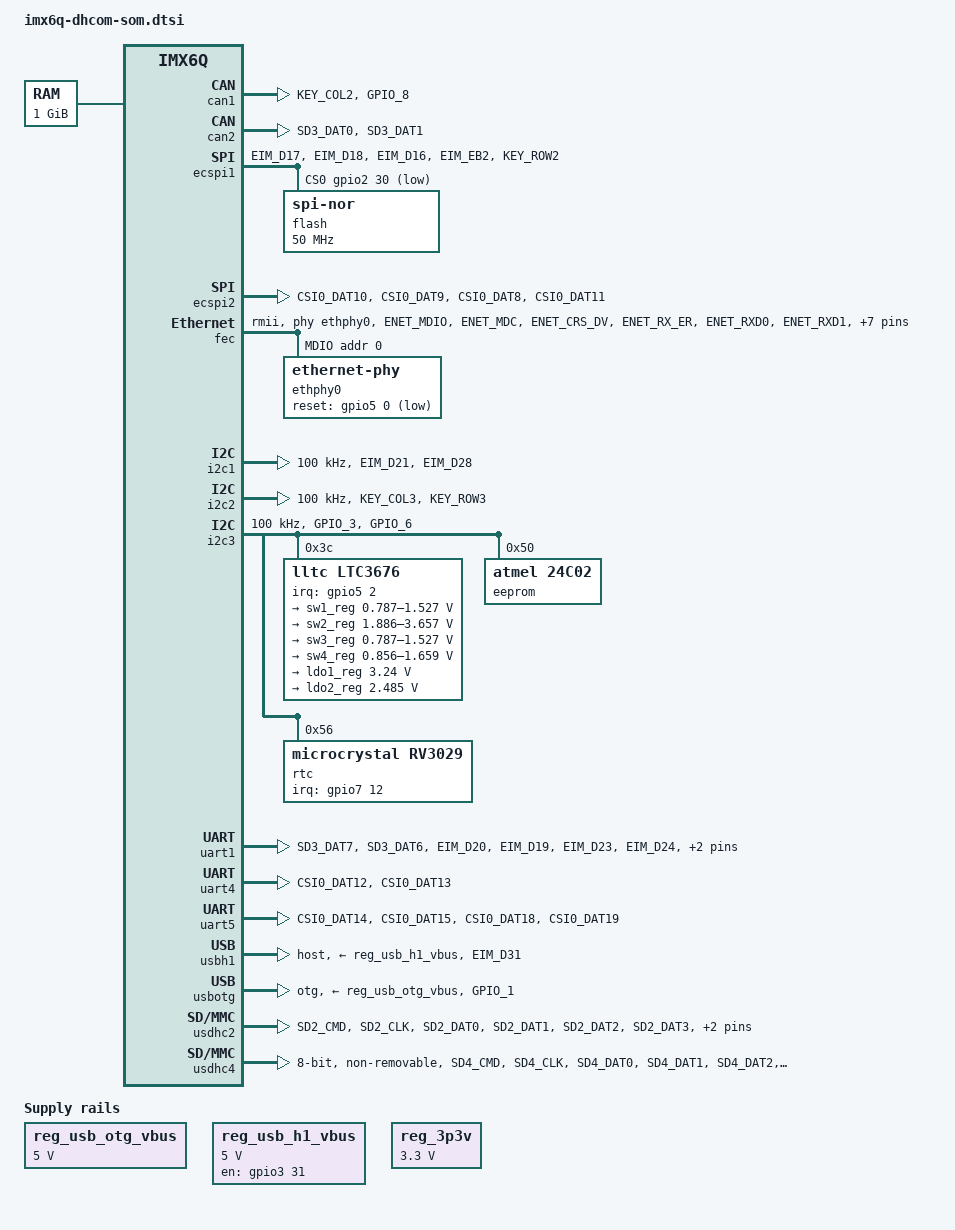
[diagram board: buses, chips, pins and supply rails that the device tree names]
// SPDX-License-Identifier: (GPL-2.0+)
/*
 * Copyright (C) 2015 DH electronics GmbH
 * Copyright (C) 2018 Marek Vasut <marex@denx.de>
 */

#include "imx6q.dtsi"
#include <dt-bindings/pwm/pwm.h>
#include <dt-bindings/gpio/gpio.h>
#include <dt-bindings/clock/imx6qdl-clock.h>
#include <dt-bindings/input/input.h>

/ {
	aliases {
		mmc0 = &usdhc2;
		mmc1 = &usdhc3;
		mmc2 = &usdhc4;
		mmc3 = &usdhc1;
	};

	memory@10000000 {
		device_type = "memory";
		reg = <0x10000000 0x40000000>;
	};

	reg_usb_otg_vbus: regulator-usb-otg-vbus {
		compatible = "regulator-fixed";
		regulator-name = "usb_otg_vbus";
		regulator-min-microvolt = <5000000>;
		regulator-max-microvolt = <5000000>;
	};

	reg_usb_h1_vbus: regulator-usb-h1-vbus {
		compatible = "regulator-fixed";
		regulator-name = "usb_h1_vbus";
		regulator-min-microvolt = <5000000>;
		regulator-max-microvolt = <5000000>;
		gpio = <&gpio3 31 GPIO_ACTIVE_HIGH>;
		enable-active-high;
	};

	reg_3p3v: regulator-3P3V {
		compatible = "regulator-fixed";
		regulator-name = "3P3V";
		regulator-min-microvolt = <3300000>;
		regulator-max-microvolt = <3300000>;
		regulator-always-on;
	};
};

&can1 {
	pinctrl-names = "default";
	pinctrl-0 = <&pinctrl_flexcan1>;
};

&can2 {
	pinctrl-names = "default";
	pinctrl-0 = <&pinctrl_flexcan2>;
};

&ecspi1 {
	cs-gpios = <&gpio2 30 GPIO_ACTIVE_LOW>, <&gpio4 11 GPIO_ACTIVE_LOW>;
	pinctrl-names = "default";
	pinctrl-0 = <&pinctrl_ecspi1>;
	status = "okay";

	flash@0 {	/* S25FL116K */
		#address-cells = <1>;
		#size-cells = <1>;
		compatible = "jedec,spi-nor";
		spi-max-frequency = <50000000>;
		reg = <0>;
		m25p,fast-read;
	};
};

&ecspi2 {
	cs-gpios = <&gpio5 29 GPIO_ACTIVE_LOW>;
	pinctrl-names = "default";
	pinctrl-0 = <&pinctrl_ecspi2>;
	status = "okay";
};

&fec {
	pinctrl-names = "default";
	pinctrl-0 = <&pinctrl_enet_100M>;
	phy-mode = "rmii";
	phy-handle = <&ethphy0>;
	status = "okay";

	mdio {
		#address-cells = <1>;
		#size-cells = <0>;

		ethphy0: ethernet-phy@0 {	/* SMSC LAN8710Ai */
			reg = <0>;
			max-speed = <100>;
			reset-gpios = <&gpio5 0 GPIO_ACTIVE_LOW>;
			reset-delay-us = <1000>;
			reset-post-delay-us = <1000>;
		};
	};
};

&i2c1 {
	clock-frequency = <100000>;
	pinctrl-names = "default";
	pinctrl-0 = <&pinctrl_i2c1>;
	status = "okay";
};

&i2c2 {
	clock-frequency = <100000>;
	pinctrl-names = "default";
	pinctrl-0 = <&pinctrl_i2c2>;
	status = "okay";
};

&i2c3 {
	clock-frequency = <100000>;
	pinctrl-names = "default";
	pinctrl-0 = <&pinctrl_i2c3>;
	status = "okay";

	ltc3676: pmic@3c {
		compatible = "lltc,ltc3676";
		pinctrl-names = "default";
		pinctrl-0 = <&pinctrl_pmic_hw300>;
		reg = <0x3c>;
		interrupt-parent = <&gpio5>;
		interrupts = <2 IRQ_TYPE_EDGE_FALLING>;

		regulators {
			sw1_reg: sw1 {
				regulator-min-microvolt = <787500>;
				regulator-max-microvolt = <1527272>;
				lltc,fb-voltage-divider = <100000 110000>;
				regulator-suspend-mem-microvolt = <1040000>;
				regulator-ramp-delay = <7000>;
				regulator-boot-on;
				regulator-always-on;
			};

			sw2_reg: sw2 {
				regulator-min-microvolt = <1885714>;
				regulator-max-microvolt = <3657142>;
				lltc,fb-voltage-divider = <100000 28000>;
				regulator-ramp-delay = <7000>;
				regulator-boot-on;
				regulator-always-on;
			};

			sw3_reg: sw3 {
				regulator-min-microvolt = <787500>;
				regulator-max-microvolt = <1527272>;
				lltc,fb-voltage-divider = <100000 110000>;
				regulator-suspend-mem-microvolt = <980000>;
				regulator-ramp-delay = <7000>;
				regulator-boot-on;
				regulator-always-on;
			};

			sw4_reg: sw4 {
				regulator-min-microvolt = <855571>;
				regulator-max-microvolt = <1659291>;
				lltc,fb-voltage-divider = <100000 93100>;
				regulator-ramp-delay = <7000>;
				regulator-boot-on;
				regulator-always-on;
			};

			ldo1_reg: ldo1 {
				regulator-min-microvolt = <3240306>;
				regulator-max-microvolt = <3240306>;
				lltc,fb-voltage-divider = <102000 29400>;
				regulator-boot-on;
				regulator-always-on;
			};

			ldo2_reg: ldo2 {
				regulator-min-microvolt = <2484708>;
				regulator-max-microvolt = <2484708>;
				lltc,fb-voltage-divider = <100000 41200>;
				regulator-boot-on;
				regulator-always-on;
			};
		};
	};

	touchscreen@49 {	/* TSC2004 */
		compatible = "ti,tsc2004";
		reg = <0x49>;
		vio-supply = <&reg_3p3v>;
		pinctrl-names = "default";
		pinctrl-0 = <&pinctrl_tsc2004_hw300>;
		interrupts-extended = <&gpio4 14 IRQ_TYPE_EDGE_FALLING>;
		status = "disabled";
	};

	eeprom@50 {
		compatible = "atmel,24c02";
		reg = <0x50>;
		pagesize = <16>;
	};

	rtc@56 {
		compatible = "microcrystal,rv3029";
		pinctrl-names = "default";
		pinctrl-0 = <&pinctrl_rtc_hw300>;
		reg = <0x56>;
		interrupt-parent = <&gpio7>;
		interrupts = <12 2>;
	};
};

&iomuxc {
	pinctrl-names = "default";
	pinctrl-0 = <&pinctrl_hog_base>;

	pinctrl_hog_base: hog-base-grp {
		fsl,pins = <
			MX6QDL_PAD_EIM_A19__GPIO2_IO19		0x120b0
			MX6QDL_PAD_EIM_A23__GPIO6_IO06		0x120b0
			MX6QDL_PAD_EIM_A22__GPIO2_IO16		0x120b0
			MX6QDL_PAD_EIM_A16__GPIO2_IO22		0x120b0
			MX6QDL_PAD_EIM_A17__GPIO2_IO21		0x120b0
		>;
	};

	pinctrl_ecspi1: ecspi1-grp {
		fsl,pins = <
			MX6QDL_PAD_EIM_D17__ECSPI1_MISO		0x100b1
			MX6QDL_PAD_EIM_D18__ECSPI1_MOSI		0x100b1
			MX6QDL_PAD_EIM_D16__ECSPI1_SCLK		0x100b1
			MX6QDL_PAD_EIM_EB2__GPIO2_IO30		0x1b0b0
			MX6QDL_PAD_KEY_ROW2__GPIO4_IO11		0x1b0b0
		>;
	};

	pinctrl_ecspi2: ecspi2-grp {
		fsl,pins = <
			MX6QDL_PAD_CSI0_DAT10__ECSPI2_MISO	0x100b1
			MX6QDL_PAD_CSI0_DAT9__ECSPI2_MOSI	0x100b1
			MX6QDL_PAD_CSI0_DAT8__ECSPI2_SCLK	0x100b1
			MX6QDL_PAD_CSI0_DAT11__GPIO5_IO29	0x1b0b0
		>;
	};

	pinctrl_enet_100M: enet-100M-grp {
		fsl,pins = <
			MX6QDL_PAD_ENET_MDIO__ENET_MDIO		0x1b0b0
			MX6QDL_PAD_ENET_MDC__ENET_MDC		0x1b0b0
			MX6QDL_PAD_ENET_CRS_DV__ENET_RX_EN	0x1b0b0
			MX6QDL_PAD_ENET_RX_ER__ENET_RX_ER	0x1b0b0
			MX6QDL_PAD_ENET_RXD0__ENET_RX_DATA0	0x1b0b0
			MX6QDL_PAD_ENET_RXD1__ENET_RX_DATA1	0x1b0b0
			MX6QDL_PAD_ENET_TX_EN__ENET_TX_EN	0x1b0b0
			MX6QDL_PAD_ENET_TXD0__ENET_TX_DATA0	0x1b0b0
			MX6QDL_PAD_ENET_TXD1__ENET_TX_DATA1	0x1b0b0
			MX6QDL_PAD_GPIO_16__ENET_REF_CLK	0x4001b0a8
			MX6QDL_PAD_EIM_WAIT__GPIO5_IO00		0x000b0
			MX6QDL_PAD_KEY_ROW4__GPIO4_IO15		0x000b1
			MX6QDL_PAD_GPIO_7__GPIO1_IO07		0x120b0
		>;
	};

	pinctrl_flexcan1: flexcan1-grp {
		fsl,pins = <
			MX6QDL_PAD_KEY_COL2__FLEXCAN1_TX	0x1b0b0
			MX6QDL_PAD_GPIO_8__FLEXCAN1_RX		0x1b0b0
		>;
	};

	pinctrl_flexcan2: flexcan2-grp {
		fsl,pins = <
			MX6QDL_PAD_SD3_DAT0__FLEXCAN2_TX	0x1b0b0
			MX6QDL_PAD_SD3_DAT1__FLEXCAN2_RX	0x1b0b0
		>;
	};

	pinctrl_i2c1: i2c1-grp {
		fsl,pins = <
			MX6QDL_PAD_EIM_D21__I2C1_SCL		0x4001b8b1
			MX6QDL_PAD_EIM_D28__I2C1_SDA		0x4001b8b1
		>;
	};

	pinctrl_i2c2: i2c2-grp {
		fsl,pins = <
			MX6QDL_PAD_KEY_COL3__I2C2_SCL		0x4001b8b1
			MX6QDL_PAD_KEY_ROW3__I2C2_SDA		0x4001b8b1
		>;
	};

	pinctrl_i2c3: i2c3-grp {
		fsl,pins = <
			MX6QDL_PAD_GPIO_3__I2C3_SCL		0x4001b8b1
			MX6QDL_PAD_GPIO_6__I2C3_SDA		0x4001b8b1
		>;
	};

	pinctrl_pmic_hw300: pmic-hw300-grp {
		fsl,pins = <
			MX6QDL_PAD_EIM_A25__GPIO5_IO02		0x1B0B0
		>;
	};

	pinctrl_rtc_hw300: rtc-hw300-grp {
		fsl,pins = <
			MX6QDL_PAD_GPIO_17__GPIO7_IO12		0x120B0
		>;
	};

	pinctrl_tsc2004_hw300: tsc2004-hw300-grp {
		fsl,pins = <
			MX6QDL_PAD_KEY_COL4__GPIO4_IO14		0x120B0
		>;
	};

	pinctrl_uart1: uart1-grp {
		fsl,pins = <
			MX6QDL_PAD_SD3_DAT7__UART1_TX_DATA	0x1b0b1
			MX6QDL_PAD_SD3_DAT6__UART1_RX_DATA	0x1b0b1
			MX6QDL_PAD_EIM_D20__UART1_RTS_B		0x1b0b1
			MX6QDL_PAD_EIM_D19__UART1_CTS_B		0x4001b0b1
			MX6QDL_PAD_EIM_D23__GPIO3_IO23		0x4001b0b1
			MX6QDL_PAD_EIM_D24__GPIO3_IO24		0x4001b0b1
			MX6QDL_PAD_EIM_D25__GPIO3_IO25		0x4001b0b1
			MX6QDL_PAD_EIM_EB3__GPIO2_IO31		0x4001b0b1
		>;
	};

	pinctrl_uart4: uart4-grp {
		fsl,pins = <
			MX6QDL_PAD_CSI0_DAT12__UART4_TX_DATA	0x1b0b1
			MX6QDL_PAD_CSI0_DAT13__UART4_RX_DATA	0x1b0b1
		>;
	};

	pinctrl_uart5: uart5-grp {
		fsl,pins = <
			MX6QDL_PAD_CSI0_DAT14__UART5_TX_DATA	0x1b0b1
			MX6QDL_PAD_CSI0_DAT15__UART5_RX_DATA	0x1b0b1
			MX6QDL_PAD_CSI0_DAT18__UART5_RTS_B	0x1b0b1
			MX6QDL_PAD_CSI0_DAT19__UART5_CTS_B	0x4001b0b1
		>;
	};

	pinctrl_usbh1: usbh1-grp {
		fsl,pins = <
			MX6QDL_PAD_EIM_D31__GPIO3_IO31		0x120B0
		>;
	};

	pinctrl_usbotg: usbotg-grp {
		fsl,pins = <
			MX6QDL_PAD_GPIO_1__USB_OTG_ID		0x17059
		>;
	};

	pinctrl_usdhc2: usdhc2-grp {
		fsl,pins = <
			MX6QDL_PAD_SD2_CMD__SD2_CMD		0x17059
			MX6QDL_PAD_SD2_CLK__SD2_CLK		0x10059
			MX6QDL_PAD_SD2_DAT0__SD2_DATA0		0x17059
			MX6QDL_PAD_SD2_DAT1__SD2_DATA1		0x17059
			MX6QDL_PAD_SD2_DAT2__SD2_DATA2		0x17059
			MX6QDL_PAD_SD2_DAT3__SD2_DATA3		0x17059
			MX6QDL_PAD_NANDF_CS3__GPIO6_IO16	0x120B0
		>;
	};

	pinctrl_usdhc3: usdhc3-grp {
		fsl,pins = <
			MX6QDL_PAD_SD3_CMD__SD3_CMD		0x17059
			MX6QDL_PAD_SD3_CLK__SD3_CLK		0x10059
			MX6QDL_PAD_SD3_DAT0__SD3_DATA0		0x17059
			MX6QDL_PAD_SD3_DAT1__SD3_DATA1		0x17059
			MX6QDL_PAD_SD3_DAT2__SD3_DATA2		0x17059
			MX6QDL_PAD_SD3_DAT3__SD3_DATA3		0x17059
			MX6QDL_PAD_SD3_RST__GPIO7_IO08		0x120B0
		>;
	};

	pinctrl_usdhc4: usdhc4-grp {
		fsl,pins = <
			MX6QDL_PAD_SD4_CMD__SD4_CMD		0x17059
			MX6QDL_PAD_SD4_CLK__SD4_CLK		0x10059
			MX6QDL_PAD_SD4_DAT0__SD4_DATA0		0x17059
			MX6QDL_PAD_SD4_DAT1__SD4_DATA1		0x17059
			MX6QDL_PAD_SD4_DAT2__SD4_DATA2		0x17059
			MX6QDL_PAD_SD4_DAT3__SD4_DATA3		0x17059
			MX6QDL_PAD_SD4_DAT4__SD4_DATA4		0x17059
			MX6QDL_PAD_SD4_DAT5__SD4_DATA5		0x17059
			MX6QDL_PAD_SD4_DAT6__SD4_DATA6		0x17059
			MX6QDL_PAD_SD4_DAT7__SD4_DATA7		0x17059
		>;
	};
};

&reg_arm {
	vin-supply = <&sw3_reg>;
};

&reg_soc {
	vin-supply = <&sw1_reg>;
};

&uart1 {
	pinctrl-names = "default";
	pinctrl-0 = <&pinctrl_uart1>;
	uart-has-rtscts;
	dtr-gpios = <&gpio3 24 GPIO_ACTIVE_LOW>;
	dsr-gpios = <&gpio3 25 GPIO_ACTIVE_LOW>;
	dcd-gpios = <&gpio3 23 GPIO_ACTIVE_LOW>;
	rng-gpios = <&gpio2 31 GPIO_ACTIVE_LOW>;
	status = "okay";
};

&uart4 {
	pinctrl-names = "default";
	pinctrl-0 = <&pinctrl_uart4>;
	status = "okay";
};

&uart5 {
	pinctrl-names = "default";
	pinctrl-0 = <&pinctrl_uart5>;
	uart-has-rtscts;
	status = "okay";
};

&usbh1 {
	pinctrl-names = "default";
	pinctrl-0 = <&pinctrl_usbh1>;
	vbus-supply = <&reg_usb_h1_vbus>;
	dr_mode = "host";
	status = "okay";
};

&usbotg {
	vbus-supply = <&reg_usb_otg_vbus>;
	pinctrl-names = "default";
	pinctrl-0 = <&pinctrl_usbotg>;
	disable-over-current;
	dr_mode = "otg";
	status = "okay";
};

&usdhc2 {
	pinctrl-names = "default";
	pinctrl-0 = <&pinctrl_usdhc2>;
	cd-gpios = <&gpio6 16 GPIO_ACTIVE_HIGH>;
	keep-power-in-suspend;
	status = "okay";
};

&usdhc3 {
	pinctrl-names = "default";
	pinctrl-0 = <&pinctrl_usdhc3>;
	cd-gpios = <&gpio7 8 GPIO_ACTIVE_LOW>;
	fsl,wp-controller;
	keep-power-in-suspend;
	status = "disabled";
};

&usdhc4 {
	pinctrl-names = "default";
	pinctrl-0 = <&pinctrl_usdhc4>;
	non-removable;
	bus-width = <8>;
	no-1-8-v;
	keep-power-in-suspend;
	status = "okay";
};
